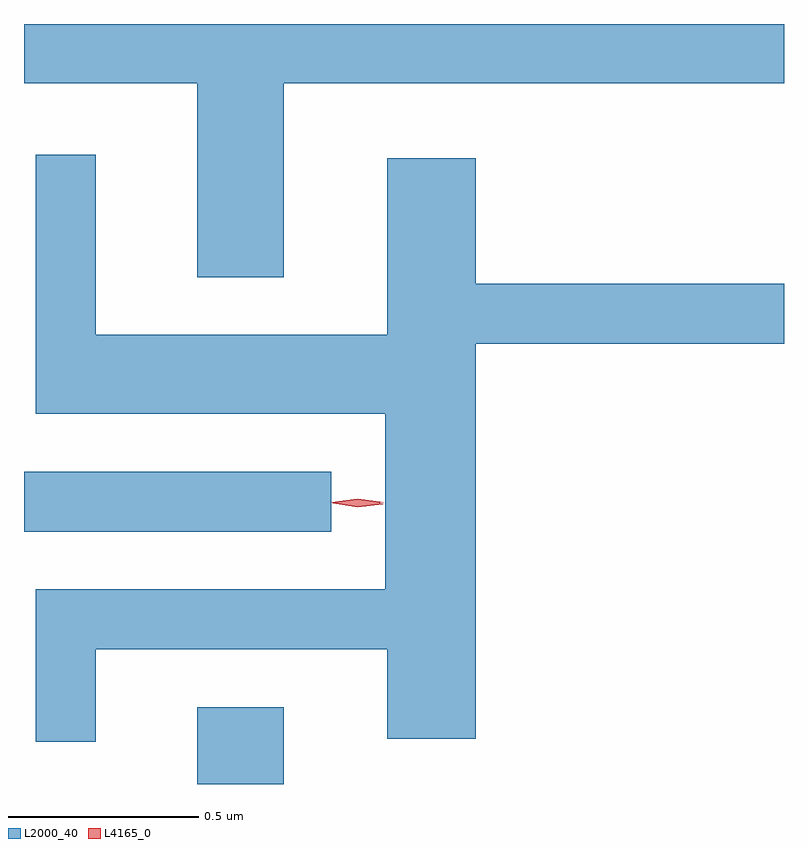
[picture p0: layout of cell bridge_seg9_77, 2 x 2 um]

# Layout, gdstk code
import gdstk
lib = gdstk.Library(unit=1e-6, precision=1e-09)
def R(c, l, rs):  # rectangles x0, y0, x1, y1
    for r in rs: c.add(gdstk.rectangle(r[:2], r[2:], *l))
def P(c, l, *ps):  # polygons
    for p in ps: c.add(gdstk.Polygon(p, *l))
L2000_40 = (2000, 40)
L4165_0 = (4165, 0)

bridge_seg9_77 = lib.new_cell('bridge_seg9_77')
R(bridge_seg9_77, L2000_40, [(1788.741,1983.312,1788.969,1983.514), (1788.285,1983.976,1789.093,1984.134)])
P(bridge_seg9_77, L2000_40, [(1788.969,1985.156),(1790.285,1985.156),(1790.285,1985.312),(1788.285,1985.312),(1788.285,1985.156),(1788.741,1985.156),(1788.741,1984.646),(1788.969,1984.646)],
  [(1788.474,1983.666),(1789.241,1983.666),(1789.241,1983.431),(1789.474,1983.431),(1789.474,1984.471),(1790.285,1984.471),(1790.285,1984.629),(1789.474,1984.629),(1789.474,1984.959),(1789.241,1984.959),(1789.241,1984.494),(1788.474,1984.494),(1788.474,1984.968),(1788.316,1984.968),(1788.316,1984.286),(1789.236,1984.286),(1789.236,1983.824),(1788.316,1983.824),(1788.316,1983.423),(1788.474,1983.423)])
P(bridge_seg9_77, L4165_0, [(1789.163,1984.043),(1789.094,1984.053),(1789.093,1984.053),(1789.094,1984.054),(1789.163,1984.063),(1789.232,1984.054),(1789.232,1984.053),(1789.232,1984.053)],
  [(1789.163,1984.04),(1789.097,1984.051),(1789.097,1984.051),(1789.097,1984.052),(1789.164,1984.06),(1789.229,1984.049),(1789.23,1984.049),(1789.229,1984.048)])

lib.write_gds('bridge_seg9_77.gds')
